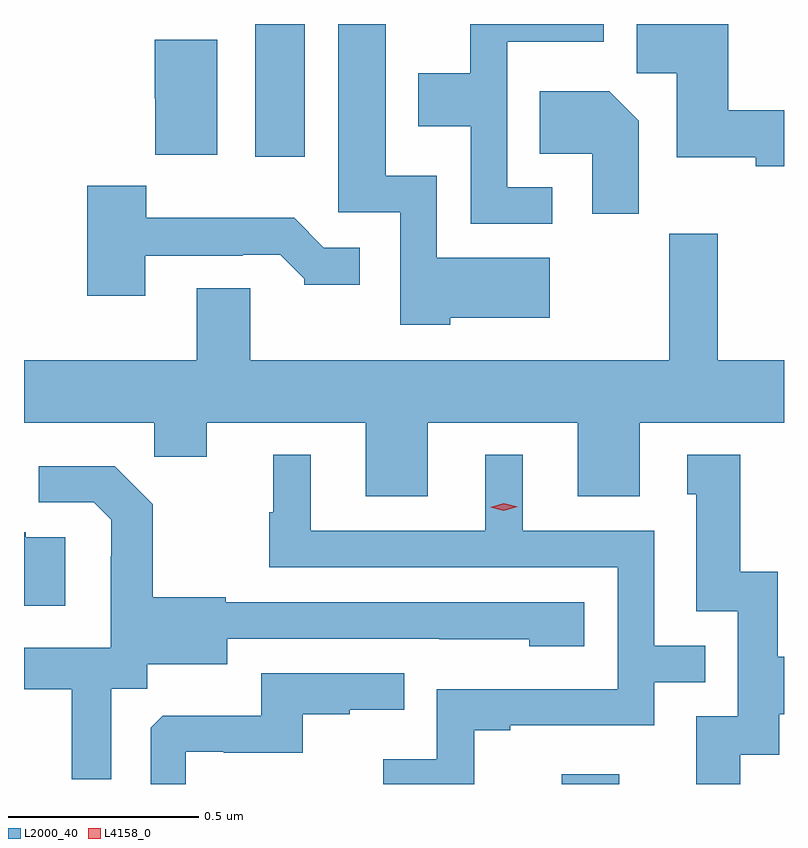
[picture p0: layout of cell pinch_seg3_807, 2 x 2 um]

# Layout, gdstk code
import gdstk
lib = gdstk.Library(unit=1e-6, precision=1e-09)
def R(c, l, rs):  # rectangles x0, y0, x1, y1
    for r in rs: c.add(gdstk.rectangle(r[:2], r[2:], *l))
def P(c, l, *ps):  # polygons
    for p in ps: c.add(gdstk.Polygon(p, *l))
L2000_40 = (2000, 40)
L4158_0 = (4158, 0)

pinch_seg3_807 = lib.new_cell('pinch_seg3_807')
R(pinch_seg3_807, L2000_40, [(772.007,710.621,772.159,710.647), (771.2,712.272,771.331,712.621)])
P(pinch_seg3_807, L2000_40, [(771.982,712.191),(771.864,712.191),(771.864,712.574),(772.117,712.574),(772.117,712.621),(771.766,712.621),(771.766,712.492),(771.629,712.492),(771.629,712.352),(771.768,712.352),(771.768,712.095),(771.982,712.095)],
  [(771.714,711.848),(771.976,711.848),(771.976,712.006),(771.678,712.006),(771.678,712.222),(771.544,712.222),(771.544,712.621),(771.419,712.621),(771.419,712.125),(771.582,712.125),(771.582,711.83),(771.714,711.83)],
  [(772.592,712.394),(772.445,712.394),(772.445,712.621),(772.205,712.621),(772.205,712.492),(772.31,712.492),(772.31,712.271),(772.518,712.271),(772.518,712.247),(772.592,712.247)],
  [(771.1,712.579),(770.936,712.579),(770.936,712.425),(770.938,712.425),(770.938,712.277),(771.1,712.277)],
  [(772.21,712.366),(772.132,712.444),(771.949,712.444),(771.949,712.28),(772.088,712.28),(772.088,712.122),(772.21,712.122)],
  [(770.911,712.011),(771.167,712.011),(771.167,712.014),(771.266,712.014),(771.33,711.95),(771.33,711.935),(771.475,711.935),(771.475,712.032),(771.381,712.032),(771.303,712.111),(770.914,712.111),(770.914,712.195),(770.759,712.195),(770.759,711.906),(770.911,711.906)],
  [(771.655,711.572),(772.049,711.572),(772.049,711.378),(772.213,711.378),(772.213,711.572),(772.592,711.572),(772.592,711.736),(772.418,711.736),(772.418,712.069),(772.29,712.069),(772.29,711.736),(771.187,711.736),(771.187,711.926),(771.047,711.926),(771.047,711.736),(770.592,711.736),(770.592,711.572),(770.935,711.572),(770.935,711.482),(771.073,711.482),(771.073,711.572),(771.491,711.572),(771.491,711.378),(771.655,711.378)],
  [(771.777,710.763),(771.871,710.763),(771.871,710.775),(772.251,710.775),(772.251,710.889),(772.385,710.889),(772.385,710.985),(772.251,710.985),(772.251,711.288),(771.904,711.288),(771.904,711.487),(771.806,711.487),(771.806,711.288),(771.346,711.288),(771.346,711.487),(771.248,711.487),(771.248,711.336),(771.237,711.336),(771.237,711.192),(772.155,711.192),(772.155,710.871),(771.678,710.871),(771.678,710.686),(771.537,710.686),(771.537,710.621),(771.777,710.621)],
  [(772.477,710.698),(772.579,710.698),(772.579,710.804),(772.592,710.804),(772.592,710.956),(772.575,710.956),(772.575,711.179),(772.477,711.179),(772.477,711.487),(772.337,711.487),(772.337,711.384),(772.361,711.384),(772.361,711.075),(772.47,711.075),(772.47,710.799),(772.361,710.799),(772.361,710.621),(772.477,710.621)],
  [(770.821,710.872),(770.916,710.872),(770.916,710.936),(771.127,710.936),(771.127,711.003),(771.685,711.003),(771.685,711.002),(771.921,711.002),(771.921,710.984),(772.066,710.984),(772.066,711.099),(771.123,711.099),(771.123,711.112),(770.931,711.112),(770.931,711.357),(770.831,711.457),(770.631,711.457),(770.631,711.363),(770.775,711.363),(770.822,711.316),(770.822,711.221),(770.82,711.221),(770.82,710.98),(770.592,710.98),(770.592,710.87),(770.717,710.87),(770.717,710.634),(770.821,710.634)],
  [(770.701,711.27),(770.597,711.27),(770.597,711.283),(770.592,711.283),(770.592,711.09),(770.701,711.09)],
  [(771.018,710.706),(771.118,710.706),(771.118,710.703),(771.326,710.703),(771.326,710.805),(771.449,710.805),(771.449,710.816),(771.593,710.816),(771.593,710.913),(771.216,710.913),(771.216,710.801),(770.957,710.801),(770.925,710.769),(770.925,710.621),(771.018,710.621)])
P(pinch_seg3_807, L4158_0, [(771.855,711.34),(771.819,711.349),(771.819,711.349),(771.819,711.349),(771.855,711.36),(771.891,711.351),(771.891,711.351),(771.891,711.35)])

lib.write_gds('pinch_seg3_807.gds')
